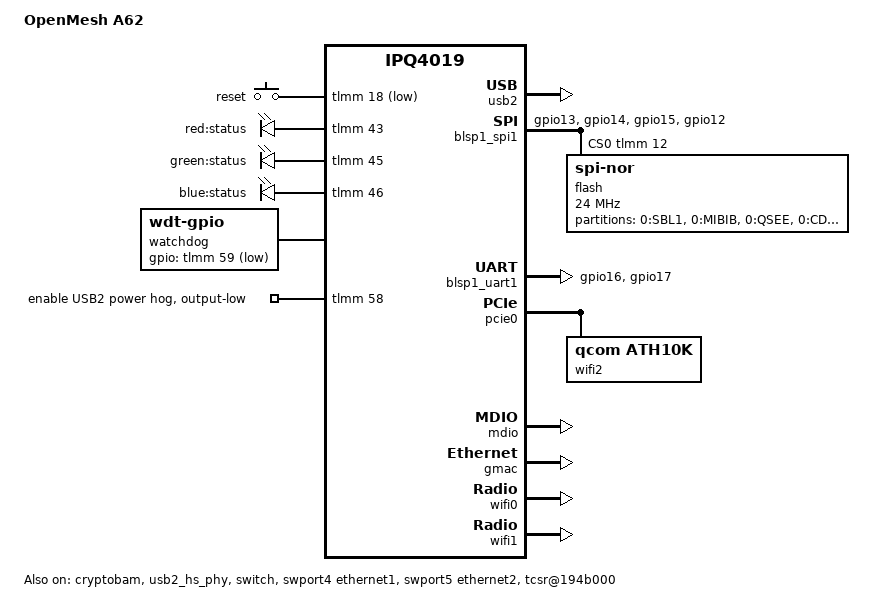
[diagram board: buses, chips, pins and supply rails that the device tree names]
// SPDX-License-Identifier: ISC
/* Copyright (c) 2015, The Linux Foundation. All rights reserved.
 * Copyright (c) 2017-2018, Sven Eckelmann <sven.eckelmann@openmesh.com>
 */

#include "qcom-ipq4019.dtsi"
#include <dt-bindings/gpio/gpio.h>
#include <dt-bindings/input/input.h>
#include <dt-bindings/soc/qcom,tcsr.h>

/ {
	model = "OpenMesh A62";
	compatible = "openmesh,a62";

	soc {
		rng@22000 {
			status = "okay";
		};

		tcsr@194b000 {
			/* select hostmode */
			compatible = "qcom,tcsr";
			reg = <0x194b000 0x100>;
			qcom,usb-hsphy-mode-select = <TCSR_USB_HSPHY_HOST_MODE>;
			status = "okay";
		};

		tcsr@1949000 {
			compatible = "qcom,tcsr";
			reg = <0x1949000 0x100>;
			qcom,wifi_glb_cfg = <TCSR_WIFI_GLB_CFG>;
		};

		ess_tcsr@1953000 {
			compatible = "qcom,tcsr";
			reg = <0x1953000 0x1000>;
			qcom,ess-interface-select = <TCSR_ESS_PSGMII>;
		};

		tcsr@1957000 {
			compatible = "qcom,tcsr";
			reg = <0x1957000 0x100>;
			qcom,wifi_noc_memtype_m0_m2 = <TCSR_WIFI_NOC_MEMTYPE_M0_M2>;
		};

		usb2: usb2@60f8800 {
			status = "okay";
		};

		crypto@8e3a000 {
			status = "okay";
		};

		watchdog@b017000 {
			status = "okay";
		};
	};

	keys {
		compatible = "gpio-keys";

		reset {
			label = "reset";
			gpios = <&tlmm 18 GPIO_ACTIVE_LOW>;
			linux,code = <KEY_RESTART >;
		};
	};

	aliases {
		led-boot = &led_status_green;
		led-failsafe = &led_status_green;
		led-running = &led_status_green;
		led-upgrade = &led_status_green;
		label-mac-device = &swport4;
	};

	leds {
		compatible = "gpio-leds";

		status_red {
			label = "red:status";
			gpios = <&tlmm 43 GPIO_ACTIVE_HIGH>;
		};

		led_status_green: status_green {
			label = "green:status";
			gpios = <&tlmm 45 GPIO_ACTIVE_HIGH>;
		};

		status_blue {
			label = "blue:status";
			gpios = <&tlmm 46 GPIO_ACTIVE_HIGH>;
		};
	};

	watchdog {
		compatible = "linux,wdt-gpio";
		gpios = <&tlmm 59 GPIO_ACTIVE_LOW>;
		hw_algo = "toggle";
		/* hw_margin_ms is actually 300s but driver limits it to 60s */
		hw_margin_ms = <60000>;
		always-running;
	};
};

&tlmm {
	serial_pins: serial_pinmux {
		mux {
			pins = "gpio16", "gpio17";
			function = "blsp_uart0";
			bias-disable;
		};
	};

	spi_0_pins: spi_0_pinmux {
		pin {
			function = "blsp_spi0";
			pins = "gpio13", "gpio14", "gpio15";
			drive-strength = <12>;
			bias-disable;
		};
		pin_cs {
			function = "gpio";
			pins = "gpio12";
			drive-strength = <2>;
			bias-disable;
			output-high;
		};
	};

	enable-usb-power {
		gpio-hog;
		gpios = <58 GPIO_ACTIVE_HIGH>;
		output-low;
		line-name = "enable USB2 power";
	};
};

&blsp_dma {
	status = "okay";
};

&blsp1_spi1 {
	pinctrl-0 = <&spi_0_pins>;
	pinctrl-names = "default";
	status = "okay";
	cs-gpios = <&tlmm 12 GPIO_ACTIVE_HIGH>;

	flash@0 {
		#address-cells = <1>;
		#size-cells = <1>;
		compatible = "jedec,spi-nor";
		reg = <0>;
		spi-max-frequency = <24000000>;

		/* partitions are passed via bootloader */
		partitions {
			compatible = "fixed-partitions";
			#address-cells = <1>;
			#size-cells = <1>;

			partition@0 {
				label = "0:SBL1";
				reg = <0x0000000 0x040000>;
				read-only;
			};

			partition@40000 {
				label = "0:MIBIB";
				reg = <0x0040000 0x020000>;
				read-only;
			};

			partition@60000 {
				label = "0:QSEE";
				reg = <0x0060000 0x060000>;
				read-only;
			};

			partition@c0000 {
				label = "0:CDT";
				reg = <0x00c0000 0x010000>;
				read-only;
			};

			partition@d0000 {
				label = "0:DDRPARAMS";
				reg = <0x00d0000 0x010000>;
				read-only;
			};

			partition@e0000 {
				label = "0:APPSBLENV"; /* u-boot-env */
				reg = <0x00e0000 0x010000>;
			};

			partition@f0000 {
				label = "0:APPSBL"; /* u-boot */
				reg = <0x00f0000 0x080000>;
				read-only;
			};

			partition@170000 {
				label = "0:ART";
				reg = <0x0170000 0x010000>;
				read-only;
				compatible = "nvmem-cells";
				#address-cells = <1>;
				#size-cells = <1>;

				precal_art_1000: precal@1000 {
					reg = <0x1000 0x2f20>;
				};

				precal_art_5000: precal@5000 {
					reg = <0x5000 0x2f20>;
				};

				precal_art_9000: precal@9000 {
					reg = <0x9000 0x2f20>;
				};

				macaddr_gmac0: macaddr@0 {
					reg = <0x0 0x6>;
				};

				macaddr_gmac1: macaddr@6 {
					reg = <0x6 0x6>;
				};
			};

			partition@180000 {
				label = "0:custom";
				reg = <0x0180000 0x010000>;
				read-only;
			};

			partition@190000 {
				label = "0:KEYS";
				reg = <0x0190000 0x010000>;
			};

			partition@1a0000 {
				label = "inactive";
				reg = <0x01a0000 0xf30000>;
			};

			partition@10d0000 {
				label = "inactive2";
				reg = <0x10d0000 0xf30000>;
			};
		};
	};
};

&blsp1_uart1 {
	pinctrl-0 = <&serial_pins>;
	pinctrl-names = "default";
	status = "okay";
};

&cryptobam {
	status = "okay";
};

&usb2_hs_phy {
	status = "okay";
};

&pcie0 {
	status = "okay";
	perst-gpio = <&tlmm 38 GPIO_ACTIVE_LOW>;
	wake-gpio = <&tlmm 50 GPIO_ACTIVE_LOW>;

	bridge@0,0 {
		reg = <0x00000000 0 0 0 0>;
		#address-cells = <3>;
		#size-cells = <2>;
		ranges;

		wifi2: wifi@1,0 {
			compatible = "qcom,ath10k";
			status = "okay";
			reg = <0x00010000 0 0 0 0>;
			qcom,ath10k-calibration-variant = "OM-A62";
			ieee80211-freq-limit = <5170000 5350000>;

			nvmem-cell-names = "pre-calibration";
			nvmem-cells = <&precal_art_9000>;
		};
	};
};

&mdio {
	status = "okay";
};

&gmac {
	status = "okay";
};

&switch {
	status = "okay";
};

&swport4 {
	status = "okay";
	label = "ethernet1";

	nvmem-cell-names = "mac-address";
	nvmem-cells = <&macaddr_gmac0>;
};

&swport5 {
	status = "okay";
	label = "ethernet2";

	nvmem-cell-names = "mac-address";
	nvmem-cells = <&macaddr_gmac1>;
};

&wifi0 {
	status = "okay";
	qcom,ath10k-calibration-variant = "OM-A62";

	nvmem-cell-names = "pre-calibration";
	nvmem-cells = <&precal_art_1000>;
};

&wifi1 {
	status = "okay";
	qcom,ath10k-calibration-variant = "OM-A62";
	ieee80211-freq-limit = <5470000 5875000>;

	nvmem-cell-names = "pre-calibration";
	nvmem-cells = <&precal_art_5000>;
};
